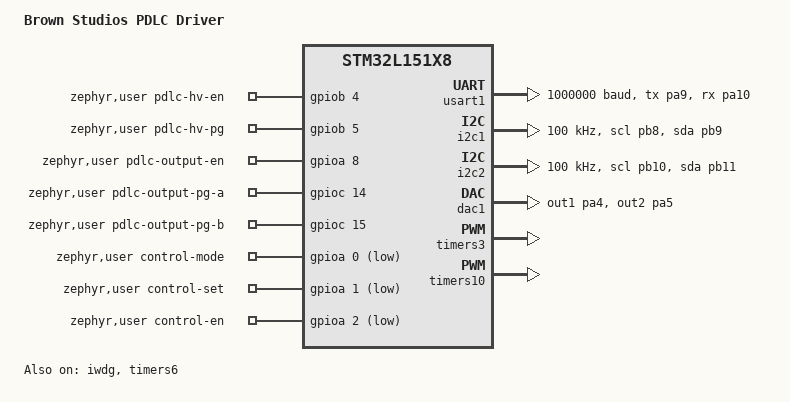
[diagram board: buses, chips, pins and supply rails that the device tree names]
/dts-v1/;
#include <st/l1/stm32l151X8-a.dtsi>
#include <st/l1/stm32l151c(6-8-b)txa-pinctrl.dtsi>
#include "stm32l151-dac-timers.dtsi"

/ {
	model = "Brown Studios PDLC Driver";
	compatible = "brownstudios,pdlc";

	chosen {
		zephyr,sram = &sram0;
		zephyr,flash = &flash0;
		zephyr,console = &usart1;
	};

	zephyr,user {
		pdlc-hv-en-gpios = <&gpiob 4 GPIO_ACTIVE_HIGH>;
		pdlc-hv-pg-gpios = <&gpiob 5 GPIO_ACTIVE_HIGH>;

		pdlc-output-en-gpios = <&gpioa 8 GPIO_ACTIVE_HIGH>;
		pdlc-output-pg-a-gpios = <&gpioc 14 GPIO_ACTIVE_HIGH>;
		pdlc-output-pg-b-gpios = <&gpioc 15 GPIO_ACTIVE_HIGH>;

		pdlc-dac = <&dac1>;
		pdlc-dma = <&dma1>;

		control-mode-gpios = <&gpioa 0 GPIO_ACTIVE_LOW>;
		control-set-gpios = <&gpioa 1 GPIO_ACTIVE_LOW>;
		control-en-gpios = <&gpioa 2 GPIO_ACTIVE_LOW>;
	};

	pwm_set {
		compatible = "pwm-set";

		status_indicator_red: status_indicator_red {
			pwms = <&indicator_pwm 1 PWM_USEC(1000) PWM_POLARITY_INVERTED>;
		};
		status_indicator_green: status_indicator_green {
			pwms = <&indicator_pwm 2 PWM_USEC(1000) PWM_POLARITY_INVERTED>;
		};
		status_indicator_blue: status_indicator_blue {
			pwms = <&indicator_pwm 3 PWM_USEC(1000) PWM_POLARITY_INVERTED>;
		};
		power_indicator: power_indicator {
			pwms = <&indicator_pwm 4 PWM_USEC(1000) PWM_POLARITY_INVERTED>;
		};
	};
};

&clk_hsi {
	status = "okay";
};

&rcc {
	clocks = <&clk_hsi>;
	clock-frequency = <DT_FREQ_M(16)>;
	ahb-prescaler = <1>;  // AHB clock at 16 MHz for the CPU core
	apb1-prescaler = <1>; // APB1 clock at 16 MHz for peripherals and timers
	apb2-prescaler = <1>; // APB2 clock at 16 MHz for peripherals and timers
};

&usart1 {
	pinctrl-0 = <&usart1_tx_pa9>, <&usart1_rx_pa10>;
	pinctrl-names = "default";
	current-speed = <1000000>;
	status = "okay";
};

&iwdg {
	status = "okay";
};

&i2c1 {
	pinctrl-0 = <&i2c1_scl_pb8>, <&i2c1_sda_pb9>;
	pinctrl-names = "default";
	clock-frequency = <I2C_BITRATE_STANDARD>;
	status = "okay";
};

&i2c2 {
	pinctrl-0 = <&i2c2_scl_pb10>, <&i2c2_sda_pb11>;
	pinctrl-names = "default";
	clock-frequency = <I2C_BITRATE_STANDARD>;
	status = "okay";
};

&dac1 {
	pinctrl-0 = <&dac_out1_pa4>, <&dac_out2_pa5>;
	pinctrl-names = "default";
	status = "okay";
};

&timers3 {
	// Divide the 16 MHz TIM clock by 1 (0+1) for timing 1000 Hz LED PWM
	st,prescaler = <0>;
	status = "okay";

	indicator_pwm: pwm {
		/* red, green, blue, power */
		pinctrl-0 = <&tim3_ch1_pa6>, <&tim3_ch2_pa7>, <&tim3_ch3_pb0>, <&tim3_ch4_pb1>;
		pinctrl-names = "default";
		status = "okay";
	};
};

&timers6 {
	// Divide the 16 MHz TIM clock by 1 (0+1) for timing 25000 Hz DAC signals
	st,prescaler = <0>;
	status = "okay";

	pdlc_wave_timer: counter {
		status = "okay";
	};
};

&timers10 {
	// Divide the 16 MHz TIM clock by 1 (0+1) for timing 1000 Hz load enable PWM
	st,prescaler = <0>;
	status = "okay";

	load_pwm: pwm {
		pinctrl-0 = <&tim10_ch1_pb12>;
		pinctrl-names = "default";
		status = "okay";
	};
};

&dma1 {
	status = "okay";
};
